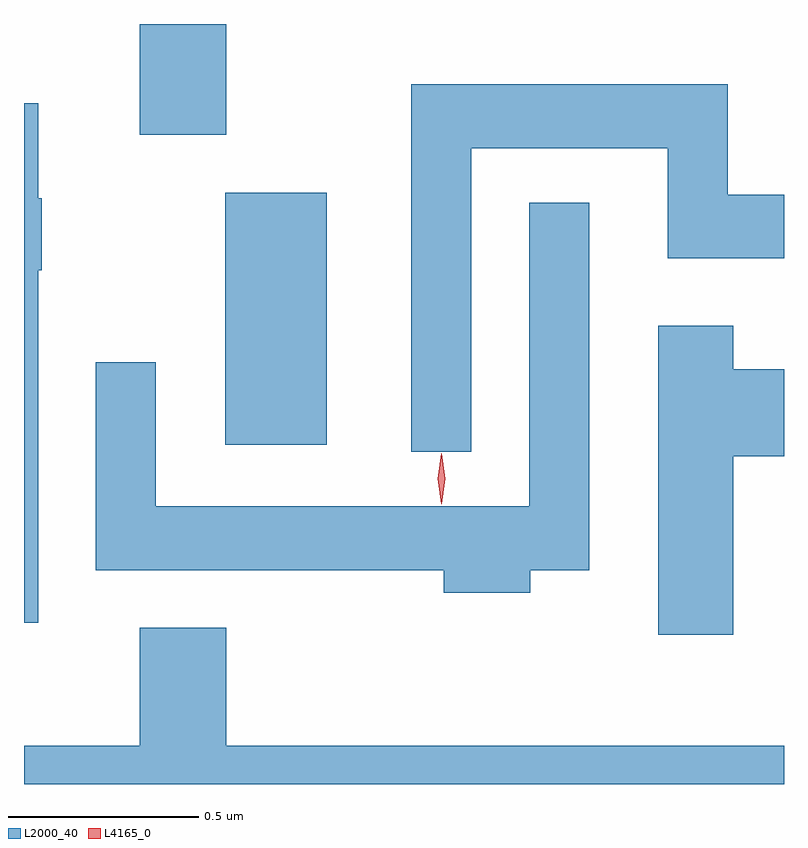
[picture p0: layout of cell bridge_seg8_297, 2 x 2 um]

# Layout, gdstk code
import gdstk
lib = gdstk.Library(unit=1e-6, precision=1e-09)
def R(c, l, rs):  # rectangles x0, y0, x1, y1
    for r in rs: c.add(gdstk.rectangle(r[:2], r[2:], *l))
def P(c, l, *ps):  # polygons
    for p in ps: c.add(gdstk.Polygon(p, *l))
L2000_40 = (2000, 40)
L4165_0 = (4165, 0)

bridge_seg8_297 = lib.new_cell('bridge_seg8_297')
R(bridge_seg8_297, L2000_40, [(1405.186,1819.716,1405.454,1820.379), (1404.961,1820.531,1405.189,1820.823)])
P(bridge_seg8_297, L2000_40, [(1405.834,1820.496),(1406.351,1820.496),(1406.351,1820.206),(1406.657,1820.206),(1406.657,1820.374),(1406.509,1820.374),(1406.509,1820.664),(1405.676,1820.664),(1405.676,1819.698),(1405.834,1819.698)],
  [(1404.694,1820.175),(1404.704,1820.175),(1404.704,1820.365),(1404.694,1820.365),(1404.694,1820.614),(1404.657,1820.614),(1404.657,1819.248),(1404.694,1819.248)],
  [(1405.989,1819.386),(1406.144,1819.386),(1406.144,1820.353),(1405.986,1820.353),(1405.986,1819.554),(1405.004,1819.554),(1405.004,1819.933),(1404.846,1819.933),(1404.846,1819.386),(1405.761,1819.386),(1405.761,1819.326),(1405.989,1819.326)],
  [(1406.524,1819.686),(1406.657,1819.686),(1406.657,1819.914),(1406.524,1819.914),(1406.524,1820.029),(1406.326,1820.029),(1406.326,1819.216),(1406.524,1819.216)],
  [(1406.657,1818.924),(1405.189,1818.924),(1405.189,1819.234),(1404.961,1819.234),(1404.961,1818.924),(1404.657,1818.924),(1404.657,1818.823),(1406.657,1818.823)])
P(bridge_seg8_297, L4165_0, [(1405.756,1819.559),(1405.755,1819.56),(1405.746,1819.626),(1405.755,1819.692),(1405.755,1819.693),(1405.756,1819.692),(1405.766,1819.626),(1405.756,1819.56)])

lib.write_gds('bridge_seg8_297.gds')
